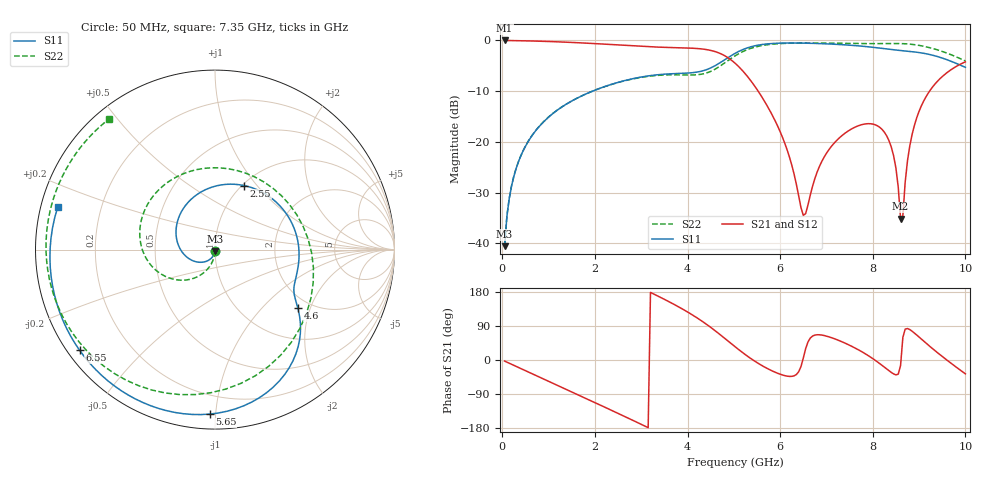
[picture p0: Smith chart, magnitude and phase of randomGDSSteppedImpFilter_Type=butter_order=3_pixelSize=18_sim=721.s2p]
! freq	dB(S11)	phase(S11)	dB(S12)	phase(S12)
!  dB(S21)	phase(S21)	dB(S22)	phase(S22)
!S-par simulation data
#  GHz  S  DB  R 50
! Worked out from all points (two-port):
!   200 points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, 50 MHz to 10 GHz, reference 50 ohm
!   highest |S21| = -0.01 dB at 50 MHz (marker M1); lowest = -35.1 dB at 8.6 GHz (marker M2)
!   |S21| within 3 dB of the highest: start of sweep to 4.8 GHz
!   lowest |S11| = -40.5 dB at 50 MHz (marker M3), VSWR 1.02, Z = 49.9 - j0.937 ohm
!   |S11| at or under -10 dB: start of sweep to 1.945 GHz
!   |S22| runs from -40.5 to -0.5 dB; largest |S21 - S12| = 0
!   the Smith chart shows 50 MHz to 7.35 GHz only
!   S11 on the Smith chart (normalised r, x): 50 MHz: 1.00, -0.02; 2.55 GHz: 1.02, +0.86; 4.6 GHz: 1.72, -1.65; 5.65 GHz: 0.08, -0.96; 6.55 GHz: 0.03, -0.33; 7.35 GHz: 0.05, +0.13
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0.05  -40.54 -93.2  -0.01 -2.9  -0.01 -2.9  -40.52 -90.9
0.2  -28.68 -106.1  -0.02 -11.3  -0.02 -11.3  -28.65 -96.2
0.5  -20.86 -130.9  -0.08 -28.2  -0.08 -28.2  -20.82 -106.3
1.15  -13.99 176.1  -0.26 -64.6  -0.26 -64.6  -13.98 -126.8
1.75  -10.78 127.5  -0.50 -98.3  -0.50 -98.3  -10.78 -145.6
2.55  -8.14 65.6  -0.92 -143.7  -0.92 -143.7  -8.17 -174.2
3.4  -6.72 9.4  -1.33 166.3  -1.33 166.3  -6.86 142.9
4.1  -6.36 -22.4  -1.53 119.4  -1.53 119.4  -6.81 81.0
4.6  -4.95 -35.3  -2.21 76.9  -2.21 76.9  -5.64 6.4
5.05  -2.43 -54.9  -4.68 32.7  -4.68 32.7  -2.91 -65.3
5.65  -0.75 -91.9  -11.80 -17.7  -11.80 -17.7  -0.95 -133.3
6.55  -0.54 -143.4  -34.14 29.6  -34.14 29.6  -0.50 167.1
6.7  -0.57 -152.1  -28.72 63.2  -28.72 63.2  -0.50 159.5
7.35  -0.84 164.9  -18.63 47.3  -18.63 47.3  -0.56 129.2
8  -1.35 99.2  -16.48 3.7  -16.48 3.7  -0.63 100.7
8.35  -1.74 42.8  -19.74 -28.3  -19.74 -28.3  -0.61 84.7
8.5  -1.89 13.1  -25.17 -39.2  -25.17 -39.2  -0.60 77.3
8.6  -1.99 -7.9  -35.11 -14.7  -35.11 -14.7  -0.62 72.1
8.95  -2.32 -80.4  -15.21 65.8  -15.21 65.8  -0.90 52.9
9.35  -3.06 -148.8  -8.52 24.0  -8.52 24.0  -1.73 30.5
9.65  -3.96 167.8  -6.02 -4.9  -6.02 -4.9  -2.67 14.4
10  -5.30 119.7  -4.22 -36.6  -4.22 -36.6  -4.05 -2.8
